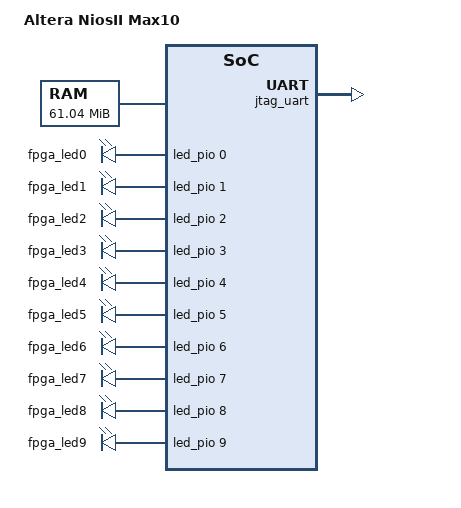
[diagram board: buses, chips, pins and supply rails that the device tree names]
// SPDX-License-Identifier: GPL-2.0-only
/*
 * Copyright (C) 2015 Altera Corporation. All rights reserved.
 */

/dts-v1/;

#include <dt-bindings/gpio/gpio.h>


/ {
	model = "Altera NiosII Max10";
	compatible = "altr,niosii-de10lite";
	#address-cells = <1>;
	#size-cells = <1>;

	chosen {
		bootargs = ""; //debug earlycon console=ttyS0,9600
		stdout-path = &jtag_uart;
	};

	cpus {
		#address-cells = <1>;
		#size-cells = <0>;

		cpu: cpu@0 {
			device_type = "cpu";
			compatible = "altr,nios2-1.1";
			reg = <0x00000000>;
			interrupt-controller;
			#interrupt-cells = <1>;
			altr,exception-addr = <0xc8000020>;
			altr,fast-tlb-miss-addr = <0xc0000100>;
			altr,has-div = <1>;
			altr,has-initda = <1>;
			altr,has-mmu = <1>;
			altr,has-mul = <1>;
			altr,implementation = "fast";
			altr,pid-num-bits = <8>;
			altr,reset-addr = <0xc8000000>;
			altr,tlb-num-entries = <256>;
			altr,tlb-num-ways = <16>;
			altr,tlb-ptr-sz = <8>;
			clock-frequency = <75000000>;
			dcache-line-size = <32>;
			dcache-size = <32768>;
			icache-line-size = <32>;
			icache-size = <32768>;
		};
	};

	memory {
		device_type = "memory";
		reg = <0x08000000 0x03D09000>,
			<0x00000000 0x00000400>;
	};

	sopc0: sopc@0 {
		device_type = "soc";
		ranges;
		#address-cells = <1>;
		#size-cells = <1>;
		compatible = "altr,avalon", "simple-bus";
		bus-frequency = <75000000>;

		jtag_uart: serial@18001530 {
			compatible = "altr,juart-1.0";
			reg = <0x18001530 0x00000008>;
			interrupt-parent = <&cpu>;
			interrupts = <0>;
		};

		// a_16550_uart_0: serial@18001600 {
		// 	compatible = "altr,16550-FIFO32", "ns16550a";
		// 	reg = <0x18001600 0x00000200>;
		// 	interrupt-parent = <&cpu>;
		// 	interrupts = <3>;
		// 	auto-flow-control = <1>;
		// 	clock-frequency = <50000000>;
		// 	fifo-size = <32>;
		// 	reg-io-width = <4>;
		// 	reg-shift = <2>;
		// 	tx-threshold = <16>;
		// };

		sys_pll: clock@1 {
			compatible = "altr,pll-1.0";
			#clock-cells = <1>;

			sys_pll_c0: sys_pll_c0 {
				compatible = "fixed-clock";
				#clock-cells = <0>;
				clock-frequency = <75000000>;
				clock-output-names = "sys_pll-c0";
			};

			sys_pll_c1: sys_pll_c1 {
				compatible = "fixed-clock";
				#clock-cells = <0>;
				clock-frequency = <75000000>;
				clock-output-names = "sys_pll-c1";
			};
		};

		sys_clk_timer: timer@18001440 {
			compatible = "altr,timer-1.0";
			reg = <0x18001440 0x00000020>;
			interrupt-parent = <&cpu>;
			interrupts = <2>;
			clock-frequency = <75000000>;
		};

		sys_clk_timer_1: timer@880 {
			compatible = "altr,timer-1.0";
			reg = <0x00000880 0x00000020>;
			interrupt-parent = <&cpu>;
			interrupts = <1>;
			clock-frequency = <75000000>;
		};

		// rgmii_0_eth_tse_0: ethernet@400 {
		// 	compatible = "altr,tse-msgdma-1.0", "altr,tse-1.0";
		// 	reg = <0x00000400 0x00000400>,
		// 		<0x00000820 0x00000020>,
		// 		<0x00000800 0x00000020>,
		// 		<0x000008c0 0x00000008>,
		// 		<0x00000840 0x00000020>,
		// 		<0x00000860 0x00000020>;
		// 	reg-names = "control_port", "rx_csr", "rx_desc", "rx_resp", "tx_csr", "tx_desc";
		// 	interrupt-parent = <&cpu>;
		// 	interrupts = <4 5>;
		// 	interrupt-names = "rx_irq", "tx_irq";
		// 	rx-fifo-depth = <8192>;
		// 	tx-fifo-depth = <8192>;
		// 	address-bits = <48>;
		// 	max-frame-size = <1518>;
		// 	local-mac-address = [00 00 00 00 00 00];
		// 	altr,has-supplementary-unicast;
		// 	altr,enable-sup-addr = <1>;
		// 	altr,has-hash-multicast-filter;
		// 	altr,enable-hash = <1>;
		// 	phy-mode = "mii"; // actually rmii, but there is an adapter to rmii
		// 	phy-handle = <&phy0>;
		// 	rgmii_0_eth_tse_0_mdio: mdio {
		// 		compatible = "altr,tse-mdio";
		// 		#address-cells = <1>;
		// 		#size-cells = <0>;
		// 		phy0: ethernet-phy@0 {
		// 			reg = <0>;
		// 			device_type = "ethernet-phy";
		// 		};
		// 	};
		// };

		led_pio: gpio@180014d0 {
			compatible = "altr,pio-1.0";
			reg = <0x00000910 0x00000010>;
			altr,ngpio = <10>;
			#gpio-cells = <2>;
			gpio-controller;
		};

		fpga_leds: leds {
			compatible = "gpio-leds";

			led_fpga0: fpga0 {
				label = "fpga_led0";
				gpios = <&led_pio 0 GPIO_ACTIVE_HIGH>;
			};
			led_fpga1: fpga1 {
				label = "fpga_led1";
				gpios = <&led_pio 1 GPIO_ACTIVE_HIGH>;
			};
			led_fpga2: fpga2 {
				label = "fpga_led2";
				gpios = <&led_pio 2 GPIO_ACTIVE_HIGH>;
			};
			led_fpga3: fpga3 {
				label = "fpga_led3";
				gpios = <&led_pio 3 GPIO_ACTIVE_HIGH>;
			};
			led_fpga4: fpga4 {
				label = "fpga_led4";
				gpios = <&led_pio 4 GPIO_ACTIVE_HIGH>;
			};
			led_fpga5: fpga5 {
				label = "fpga_led5";
				gpios = <&led_pio 5 GPIO_ACTIVE_HIGH>;
			};
			led_fpga6: fpga6 {
				label = "fpga_led6";
				gpios = <&led_pio 6 GPIO_ACTIVE_HIGH>;
			};
			led_fpga7: fpga7 {
				label = "fpga_led7";
				gpios = <&led_pio 7 GPIO_ACTIVE_HIGH>;
			};
			led_fpga8: fpga8 {
				label = "fpga_led8";
				gpios = <&led_pio 8 GPIO_ACTIVE_HIGH>;
			};
			led_fpga9: fpga9 {
				label = "fpga_led9";
				gpios = <&led_pio 9 GPIO_ACTIVE_HIGH>;
			};
		};
	};
};
